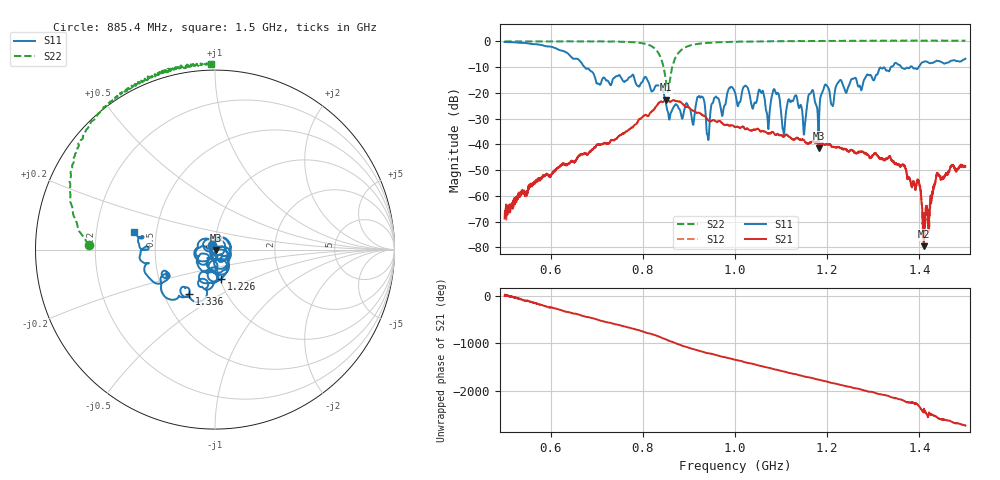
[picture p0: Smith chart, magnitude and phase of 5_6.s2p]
!Keysight Technologies,N5242B,MY48420860,A.13.80.08
!Date: Saturday, September 26, 2020 13:16:49
!Correction: S11(Full 2 Port(1,2))
!S21(Full 2 Port(1,2))
!S12(Full 2 Port(1,2))
!S22(Full 2 Port(1,2))
!S2P File: Measurements: S11, S21, S12, S22:
# Hz S  dB  R 50
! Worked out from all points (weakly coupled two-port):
!   2650 points, 500 MHz to 1.5 GHz, reference 50 ohm
!   highest |S21| = -22.68 dB at 850.7 MHz (marker M1); lowest = -79.6 dB at 1.41 GHz (marker M2)
!   lowest |S11| = -41.6 dB at 1.181 GHz (marker M3), VSWR 1.02, Z = 50.7 - j0.465 ohm
!   |S11| at or under -10 dB: 673.9 MHz to 1.338 GHz (664.2 MHz wide, 66 % of centre); 1.361 GHz to 1.38 GHz (19.2 MHz wide, 1.4 % of centre); 1.385 GHz to 1.398 GHz (13.32 MHz wide, 0.957 % of centre)
!   |S22| runs from -19.6 to 0.4 dB; largest |S21 - S12| = 0.0004
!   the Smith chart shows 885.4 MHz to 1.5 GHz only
!   S11 on the Smith chart (normalised r, x): 885.4 MHz: 0.96, +0.05; 1.226 GHz: 1.02, -0.34; 1.336 GHz: 0.67, -0.36; 1.5 GHz: 0.37, +0.09
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5e8  -0.23 -166.2  -68.83 1.9  -67.06 10.6  -0.02 147.3
6.045678e8  -2.24 126.1  -50.99 108.0  -50.88 109.1  0.01 139.0
6.668554e8  -8.30 76.1  -43.78 -52.8  -43.82 -54.2  -0.00 132.7
8.337108e8  -17.12 5.7  -24.11 -132.2  -24.14 -132.2  -4.50 64.6
8.506984e8  -24.59 -51.1  -22.68 158.7  -22.72 158.7  -16.00 -0.9
8.854285e8  -30.04 125.1  -24.17 29.7  -24.20 29.5  -3.04 178.1
9.269536e8  -21.45 -11.2  -28.29 -90.3  -28.33 -90.3  -0.79 151.8
9.412986e8  -37.48 -32.2  -30.59 -128.6  -30.60 -128.3  -0.55 147.3
9.552661e8  -21.92 -22.5  -30.72 -157.9  -30.81 -158.1  -0.42 143.6
1.000189e9  -19.90 -115.9  -33.26 95.2  -33.35 95.0  -0.17 135.7
1.071159e9  -31.38 175.4  -35.76 -73.4  -35.85 -73.1  0.03 127.1
1.088146e9  -19.87 174.9  -36.36 -113.5  -36.35 -113.5  0.07 125.5
1.105134e9  -35.02 148.6  -37.01 -151.9  -37.05 -151.3  0.09 123.7
1.166667e9  -19.30 -53.1  -39.09 71.1  -38.99 71.5  0.14 118.4
1.181389e9  -41.62 -33.6  -39.77 33.9  -39.87 33.6  0.13 117.0
1.225557e9  -15.55 -77.9  -41.15 -68.8  -41.08 -68.7  0.19 113.4
1.333522e9  -11.63 -126.6  -44.92 47.3  -45.04 47.8  0.31 104.7
1.336165e9  -10.90 -120.4  -44.58 34.3  -44.72 33.9  0.28 105.2
1.398452e9  -9.99 -147.8  -54.27 -152.8  -54.25 -153.1  0.34 100.0
1.409777e9  -7.95 -157.5  -79.58 59.7  -72.54 91.6  0.24 98.5
1.4396e9  -7.57 -175.8  -51.04 -52.5  -51.89 -50.7  0.28 96.0
1.5e9  -6.75 167.9  -48.71 148.2  -48.39 151.9  0.29 91.2
